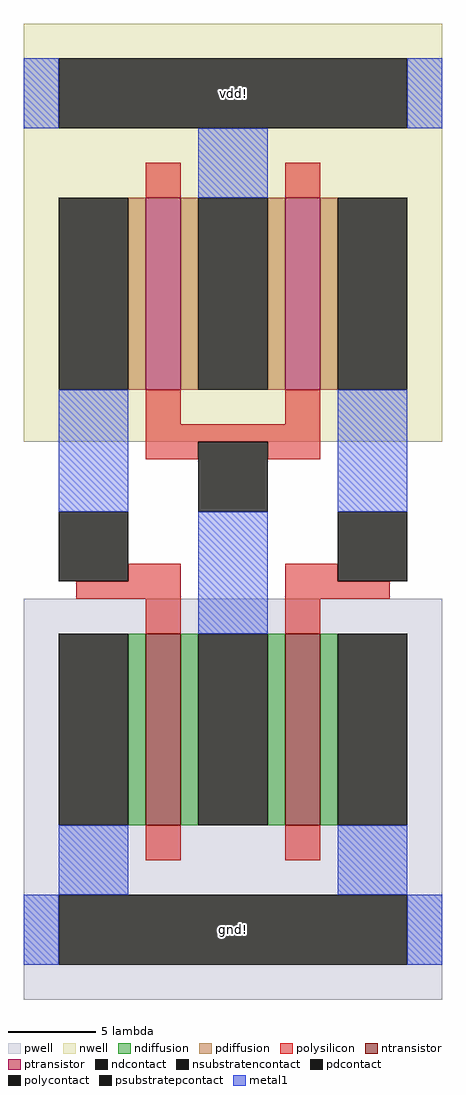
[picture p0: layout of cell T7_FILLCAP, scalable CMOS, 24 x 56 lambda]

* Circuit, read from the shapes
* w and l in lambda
.subckt T7_FILLCAP gnd! vdd!
M1 n1 n2 gnd! gnd! nfet w=11 l=2
M2 gnd! n3 n1 gnd! nfet w=11 l=2
M3 vdd! n1 n2 vdd! pfet w=11 l=2
M4 n3 n1 vdd! vdd! pfet w=11 l=2
.ends

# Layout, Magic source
magic
tech scmos
<< pwell >>
rect 0 0 24 23
<< nwell >>
rect 0 32 24 56
<< polysilicon >>
rect 7 46 9 48
rect 15 46 17 48
rect 7 33 9 35
rect 15 33 17 35
rect 7 32 17 33
rect 7 31 10 32
rect 14 31 17 32
rect 6 24 9 25
rect 3 23 9 24
rect 7 21 9 23
rect 15 24 18 25
rect 15 23 21 24
rect 15 21 17 23
rect 7 8 9 10
rect 15 8 17 10
<< ndiffusion >>
rect 6 10 7 21
rect 9 10 10 21
rect 14 10 15 21
rect 17 10 18 21
<< pdiffusion >>
rect 6 35 7 46
rect 9 35 10 46
rect 14 35 15 46
rect 17 35 18 46
<< metal1 >>
rect 0 50 2 54
rect 22 50 24 54
rect 10 46 14 50
rect 2 28 6 35
rect 10 21 14 28
rect 18 28 22 35
rect 2 6 6 10
rect 18 6 22 10
rect 0 2 2 6
rect 22 2 24 6
<< ntransistor >>
rect 7 10 9 21
rect 15 10 17 21
<< ptransistor >>
rect 7 35 9 46
rect 15 35 17 46
<< polycontact >>
rect 10 28 14 32
rect 2 24 6 28
rect 18 24 22 28
<< ndcontact >>
rect 2 10 6 21
rect 10 10 14 21
rect 18 10 22 21
<< pdcontact >>
rect 2 35 6 46
rect 10 35 14 46
rect 18 35 22 46
<< psubstratepcontact >>
rect 2 2 22 6
<< nsubstratencontact >>
rect 2 50 22 54
<< labels >>
rlabel psubstratepcontact 2 2 22 6 1 gnd!
rlabel nsubstratencontact 2 50 22 54 1 vdd!
<< end >>
